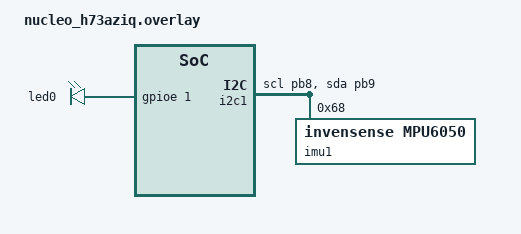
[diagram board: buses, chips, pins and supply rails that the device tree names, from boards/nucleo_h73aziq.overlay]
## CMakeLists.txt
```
cmake_minimum_required(VERSION 3.20)
find_package(Zephyr REQUIRED HINTS $ENV{ZEPHYR_BASE})
project(sensors)
target_sources(app PRIVATE src/main.c)
```

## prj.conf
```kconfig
CONFIG_GPIO=y
CONFIG_UART_LINE_CTRL=y
CONFIG_UART_INTERRUPT_DRIVEN=y
CONFIG_PRINTK=y
CONFIG_I2C=y
CONFIG_SERIAL=y
CONFIG_CONSOLE=y
CONFIG_UART_CONSOLE=y
CONFIG_SENSOR=y
CONFIG_MPU6050=y
```

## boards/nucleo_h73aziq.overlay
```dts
/ {
  aliases {
    my-led=&led0;
    turntable-imu=&imu1;
    //link1-imu=&imu2;
    //link2-imu=&imu3;
    //diffrential-imu=&imu4;
    //magnetometer-yaw=&mag1;
    
  };
  leds {
    compatible="gpio-leds";
    led0: check_led {
      gpios=<&gpioe 1 GPIO_ACTIVE_HIGH>;
    };
  };
};
&pinctrl {
  i2c1_scl_pb8: i2c1_scl_pb8 {
    pinmux = <STM32_PINMUX('B', 8, AF4)>;
    bias-pull-up;
  };

  i2c1_sda_pb9: i2c1_sda_pb9 {
    pinmux = <STM32_PINMUX('B', 9, AF4)>;
    bias-pull-up;
  };
};
&i2c1 {
  status="okay";
  pinctrl-0=<&i2c1_scl_pb8 &i2c1_sda_pb9>;
  pinctrl-names="default";
  imu1: turntable_imu@68 {
    compatible="invensense,mpu6050";
    reg=<0x68>;
  };
};
```

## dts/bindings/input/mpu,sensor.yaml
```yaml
description : Mpu integration sensor
compatible : "mpu,sensor"
properties :
  label :
    type : string
    required : false
  resolution :
    type : phandle-array
    required : false
    default : 3
  reg :
    type : phandle-array
    required : true
```

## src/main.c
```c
#include <stdio.h>
#include <zephyr/kernel.h>
#include <zephyr/drivers/gpio.h>
#include <zephyr/device.h>
#include <zephyr/drivers/sensor.h>
#define sleep_time_ms 1000

static const struct gpio_dt_spec led =GPIO_DT_SPEC_GET(DT_ALIAS(my_led),gpios);
static const struct device *mpu_sensor =DEVICE_DT_GET(DT_ALIAS(turntable_imu));
struct sensor_value accel[3] , gyro[3];
int main(){
  int ret;
  int sensor_ret;
  if(!device_is_ready(mpu_sensor)){
    printk("MPu sensor is not ready and configured properly \n");
    return 0;
  }
  ret=gpio_pin_configure_dt(&led,GPIO_OUTPUT_ACTIVE);
  if(ret<0){
    printk("Not able to congiure the led pins \n");
  }
  while(1){
    sensor_ret=sensor_sample_fetch(mpu_sensor);
    if(sensor_ret<0){
      printk("Error reading values from the sensor not configured properly \n");
      return 0;
    }
    sensor_ret=sensor_channel_get(mpu_sensor,SENSOR_CHAN_ACCEL_XYZ,accel);
    sensor_ret=sensor_channel_get(mpu_sensor,SENSOR_CHAN_GYRO_XYZ,gyro);
    //can add for temperature also
    printk("Accel : %f , %f , %f , Gyro : %f , %f , %f \n",sensor_value_to_double(&accel[0]),sensor_value_to_double(&accel[1]),sensor_value_to_double(&accel[2]),sensor_value_to_double(&gyro[0]),sensor_value_to_double(&gyro[1]),sensor_value_to_double(&gyro[2]));
    gpio_pin_toggle_dt(&led);
    k_msleep(sleep_time_ms);

  };
  

}
```
